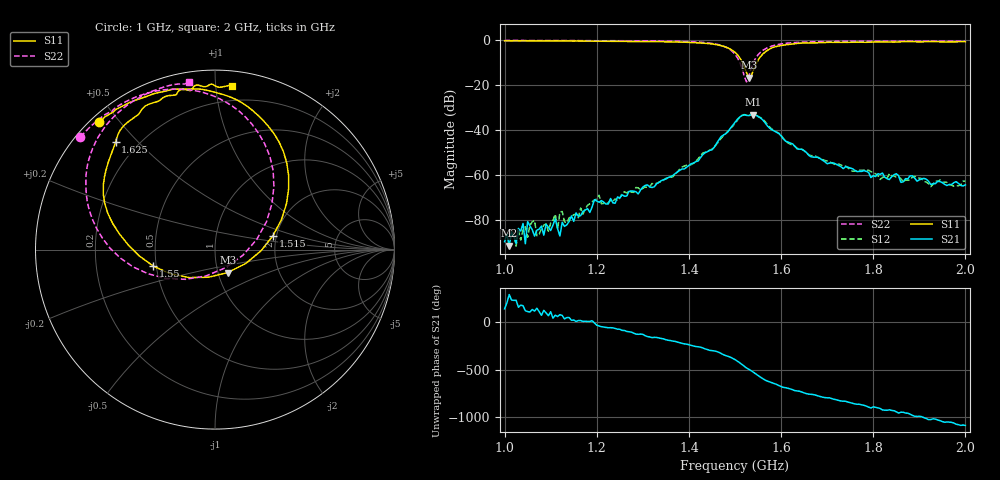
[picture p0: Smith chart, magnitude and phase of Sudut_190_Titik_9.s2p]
# Hz S RI R 50
! CMT, C1220, 16058040, 17.2.0/1
! Date: 14/08/2018 11:57:14
! Data: Format (Calibration Info)
! Freq  S11: Re/Im (F2)  S21: Re/Im (F2)  S12: Re/Im (F2)  S22: Re/Im (F2)
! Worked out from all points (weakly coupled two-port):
!   201 points, 1 GHz to 2 GHz, reference 50 ohm
!   highest |S21| = -33.26 dB at 1.54 GHz (marker M1); lowest = -91.6 dB at 1.01 GHz (marker M2)
!   lowest |S11| = -16.7 dB at 1.53 GHz (marker M3), VSWR 1.34, Z = 55.7 - j14.5 ohm
!   |S11| at or under -10 dB: 1.516 GHz to 1.547 GHz (31.54 MHz wide, 2.06 % of centre)
!   |S22| runs from -18.6 to -0.2 dB; largest |S21 - S12| = 0.00094
!   S11 on the Smith chart (normalised r, x): 1 GHz: 0.02, +0.44; 1.515 GHz: 1.92, +0.33; 1.55 GHz: 0.48, -0.10; 1.625 GHz: 0.12, +0.43; 2 GHz: 0.10, +1.10
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1e9  -0.6443 0.7118  -2.5e-05 2.07e-05  -4.2e-05 -2.37e-05  -0.7498 0.6271
1.01e9  -0.6314 0.7211  9.19e-06 -2.47e-05  -5.33e-05 -5.32e-06  -0.7425 0.6349
1.15e9  -0.4938 0.8108  8.48e-05 3.58e-05  0.000109 7.02e-05  -0.6324 0.7379
1.17e9  -0.4723 0.8209  0.00015 2.22e-05  0.000125 4.52e-05  -0.6121 0.7523
1.205e9  -0.4256 0.8382  0.000188 -0.000157  0.000249 -0.000249  -0.5757 0.7665
1.22e9  -0.4101 0.8436  0.000128 -0.000182  0.000122 -0.000196  -0.5669 0.7793
1.335e9  -0.2148 0.8939  -0.000654 -0.000163  -0.000674 -0.000126  -0.3954 0.8661
1.45e9  0.1816 0.797  0.00175 0.00314  0.00204 0.0031  0.0274 0.8396
1.5e9  0.4104 0.3397  0.0123 -0.00809  0.0115 -0.00764  0.3282 0.3518
1.515e9  0.3226 0.077  0.0019 -0.0207  0.00245 -0.0208  0.2321 0.056
1.525e9  0.1706 -0.078  -0.011 -0.0179  -0.011 -0.0182  0.0588 -0.101
1.53e9  0.0711 -0.1278  -0.0147 -0.0147  -0.0147 -0.0149  -0.0503 -0.1469
1.54e9  -0.144 -0.156  -0.0211 -0.00509  -0.0209 -0.00511  -0.2745 -0.1609
1.55e9  -0.3428 -0.0925  -0.0184 0.00738  -0.0187 0.00665  -0.458 -0.0956
1.58e9  -0.6142 0.2566  0.00089 0.01  0.00139 0.0103  -0.7005 0.2186
1.625e9  -0.5539 0.5989  0.00478 0.000887  0.0045 0.000908  -0.6966 0.5221
1.67e9  -0.4411 0.7421  0.00186 -0.00164  0.00203 -0.00172  -0.6199 0.6741
1.815e9  -0.1866 0.8919  -0.00102 0.000127  -0.000767 0.000172  -0.3965 0.8609
1.835e9  -0.1452 0.8869  -0.000733 0.000279  -0.000969 0.000425  -0.3699 0.8737
1.85e9  -0.1287 0.8916  -0.000782 0.000709  -0.000608 0.000648  -0.3493 0.8827
1.925e9  -0.0236 0.9212  0.000334 0.000506  0.000203 0.000502  -0.2441 0.9166
2e9  0.0937 0.9118  0.000595 -5.86e-05  0.000706 -0.000144  -0.1464 0.931
